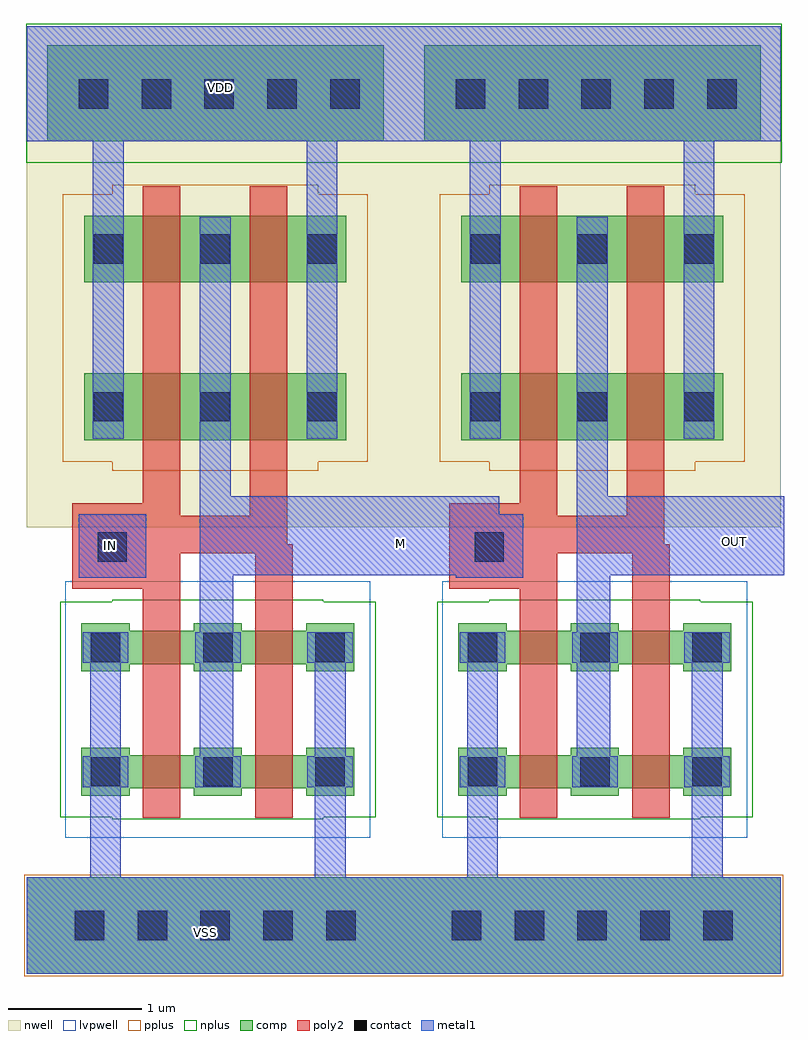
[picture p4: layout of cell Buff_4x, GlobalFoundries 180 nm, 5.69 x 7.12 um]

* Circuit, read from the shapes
.subckt Buff_4x IN M OUT VDD VSS
XM1 M IN VSS VSS nfet_03v3 w=0.25u l=0.28u m=4
XM2 OUT M VSS VSS nfet_03v3 w=0.25u l=0.28u m=4
XM3 M IN VDD VDD pfet_03v3 w=0.5u l=0.28u m=4
XM4 OUT M VDD VDD pfet_03v3 w=0.5u l=0.28u m=4
.ends

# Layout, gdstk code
import gdstk
lib = gdstk.Library(unit=1e-6, precision=1e-09)
def R(c, l, rs):  # rectangles x0, y0, x1, y1
    for r in rs: c.add(gdstk.rectangle(r[:2], r[2:], *l))
def A(c, l, x, y, w, h, nx, ny, dx, dy):  # array of equal rectangles
    R(c, l, [(x+i*dx, y+j*dy, x+i*dx+w, y+j*dy+h) for i in range(nx) for j in range(ny)])
nwell = (21, 0)
comp = (22, 0)
poly2 = (30, 0)
pplus = (31, 0)
nplus = (32, 0)
contact = (33, 0)
metal1 = (34, 0)
lvpwell = (204, 0)

pmos_3p3_mnxalr = lib.new_cell('pmos_3p3_MNXALR')
R(pmos_3p3_mnxalr, nwell, [(-1.41,-1.49,1.41,1.49)])
R(pmos_3p3_mnxalr, comp, [(-0.98,-0.84,0.98,-0.34), (-0.98,0.34,0.98,0.84)])
R(pmos_3p3_mnxalr, poly2, [(-0.54,-1.06,-0.26,-0.12), (0.26,-1.06,0.54,-0.12), (-0.54,0.12,-0.26,1.06), (0.26,0.12,0.54,1.06)])
R(pmos_3p3_mnxalr, pplus, [(-0.77,-1.07,0.77,-1), (-1.14,-1,1.14,1), (-0.77,1,0.77,1.07)])
A(pmos_3p3_mnxalr, contact, -0.91, -0.7, 0.22, 0.22, 3, 2, 0.8, 1.18)
A(pmos_3p3_mnxalr, metal1, -0.915, -0.83, 0.23, 0.48, 3, 2, 0.8, 1.18)

nmos_3p3_bzs5u2 = lib.new_cell('nmos_3p3_BZS5U2')
A(nmos_3p3_bzs5u2, comp, -1.02, -0.645, 0.36, 0.055, 3, 2, 0.84, 0.305)
A(nmos_3p3_bzs5u2, comp, -1.02, 0.285, 0.36, 0.055, 3, 2, 0.84, 0.305)
R(nmos_3p3_bzs5u2, comp, [(-1.02,-0.59,1.02,-0.34), (-1.02,0.34,1.02,0.59)])
R(nmos_3p3_bzs5u2, poly2, [(-0.56,-0.81,-0.28,-0.12), (0.28,-0.81,0.56,-0.12), (-0.56,0.12,-0.28,0.81), (0.28,0.12,0.56,0.81)])
R(nmos_3p3_bzs5u2, nplus, [(-0.79,-0.82,0.79,-0.805), (-1.18,-0.805,1.18,0.805), (-0.79,0.805,0.79,0.82)])
A(nmos_3p3_bzs5u2, contact, -0.95, -0.575, 0.22, 0.22, 3, 2, 0.84, 0.93)
A(nmos_3p3_bzs5u2, metal1, -1.01, -0.58, 0.34, 0.23, 3, 2, 0.84, 0.93)
R(nmos_3p3_bzs5u2, lvpwell, [(-1.14,-0.96,1.14,0.96)])

inv_4x = lib.new_cell('Inv_4x')
R(inv_4x, nwell, [(-0.29,5.305,2.53,6.07)])
R(inv_4x, comp, [(-0.29,-1.015,2.53,-0.295), (-0.135,5.21,2.38,5.93)])
R(inv_4x, poly2, [(0.58,0.59,0.86,1.485), (1.42,0.715,1.7,1.485), (0.58,1.77,0.86,1.865), (1.42,1.77,1.7,2.13), (0.05,1.865,0.86,2.13), (0.05,2.13,1.7,2.195), (0.05,2.195,1.66,2.41), (0.05,2.41,0.86,2.505), (1.38,2.41,1.66,3.98), (0.58,2.505,0.86,3.975)])
R(inv_4x, pplus, [(-0.31,-1.035,2.55,-0.275)])
R(inv_4x, nplus, [(-0.295,5.05,2.54,6.09)])
A(inv_4x, contact, 0.07, -0.765, 0.22, 0.22, 5, 1, 0.47, 0)
A(inv_4x, contact, 0.1, 5.455, 0.22, 0.22, 5, 1, 0.47, 0)
R(inv_4x, contact, [(0.24,2.065,0.46,2.285)])
R(inv_4x, metal1, [(-0.29,-1.015,2.53,-0.295), (0.185,-0.295,0.415,1.325), (1.865,-0.295,2.095,1.335), (1.005,0.45,1.235,0.61), (1.005,0.61,1.255,1.965), (0.1,1.945,0.605,2.42), (1.005,1.965,2.555,2.555), (1.005,2.555,1.235,4.31), (0.205,3.41,0.435,5.21), (1.805,3.465,2.035,5.21), (-0.29,5.21,2.53,6.07)])
inv_4x.add(gdstk.Reference(pmos_3p3_mnxalr, (1.12,3.815)))
inv_4x.add(gdstk.Reference(nmos_3p3_bzs5u2, (1.14,0.96)))
inv_4x.add(gdstk.Label('OUT', (2.345,2.175), layer=34, texttype=10))
inv_4x.add(gdstk.Label('IN', (0.34,2.185), layer=30, texttype=10))
inv_4x.add(gdstk.Label('VDD', (1.115,5.575), layer=22, texttype=0))
inv_4x.add(gdstk.Label('VSS', (1.1,-0.65), layer=22, texttype=0))

buff_4x = lib.new_cell('Buff_4x')
R(buff_4x, metal1, [(0.195,-1.12,0.785,-0.53), (1.38,1.795,2.66,2.385), (3.665,1.795,4.79,2.385), (-0.435,1.855,-0.025,2.175), (0.265,5.205,0.855,5.795)])
buff_4x.add(gdstk.Reference(inv_4x, (-0.585,-0.17)))
buff_4x.add(gdstk.Reference(inv_4x, (2.235,-0.17)))
buff_4x.add(gdstk.Label('VDD', (0.575,5.44), layer=34, texttype=10))
buff_4x.add(gdstk.Label('VSS', (0.46,-0.88), layer=34, texttype=10))
buff_4x.add(gdstk.Label('OUT', (4.42,2.05), layer=34, texttype=10))
buff_4x.add(gdstk.Label('IN', (-0.25,2.02), layer=34, texttype=10))
buff_4x.add(gdstk.Label('M', (1.925,2.035), layer=34, texttype=10))

lib.write_gds('Buff_4x.gds')
